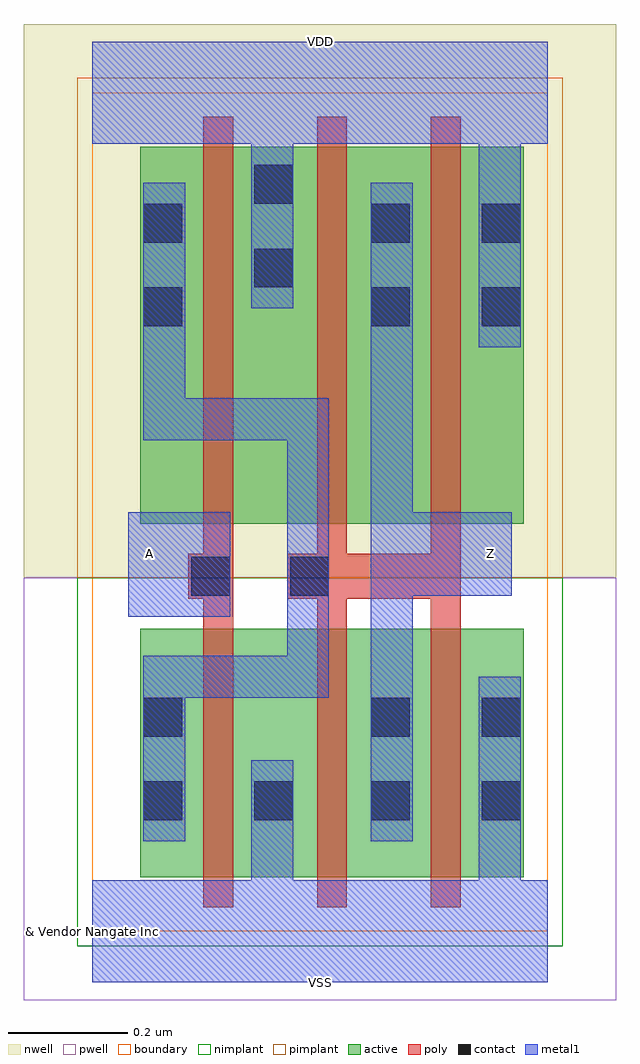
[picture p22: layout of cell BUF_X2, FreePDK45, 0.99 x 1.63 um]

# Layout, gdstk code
import gdstk
lib = gdstk.Library(unit=1e-6, precision=1e-10)
def R(c, l, rs):  # rectangles x0, y0, x1, y1
    for r in rs: c.add(gdstk.rectangle(r[:2], r[2:], *l))
def P(c, l, *ps):  # polygons
    for p in ps: c.add(gdstk.Polygon(p, *l))
active = (1, 0)
pwell = (2, 0)
nwell = (3, 0)
nimplant = (4, 0)
pimplant = (5, 0)
poly = (9, 0)
contact = (10, 0)
metal1 = (11, 0)
boundary = (235, 0)

buf_x2 = lib.new_cell('BUF_X2')
R(buf_x2, active, [(0.08,0.09,0.72,0.505), (0.08,0.68,0.72,1.31)])
R(buf_x2, pwell, [(-0.115,-0.115,0.875,0.59)])
R(buf_x2, nwell, [(-0.115,0.59,0.875,1.515)])
R(buf_x2, nimplant, [(-0.025,-0.025,0.785,0.59)])
R(buf_x2, pimplant, [(-0.025,0.59,0.785,1.425)])
P(buf_x2, poly, [(0.185,0.04),(0.185,0.555),(0.16,0.555),(0.16,0.63),(0.185,0.63),(0.185,1.36),(0.235,1.36),(0.235,0.04)],
  [(0.375,0.04),(0.375,0.555),(0.325,0.555),(0.325,0.63),(0.375,0.63),(0.375,1.36),(0.425,1.36),(0.425,0.63),(0.565,0.63),(0.565,1.36),(0.615,1.36),(0.615,0.04),(0.565,0.04),(0.565,0.555),(0.425,0.555),(0.425,0.04)])
R(buf_x2, contact, [(0.085,0.185,0.15,0.25), (0.27,0.185,0.335,0.25), (0.465,0.185,0.53,0.25), (0.65,0.185,0.715,0.25), (0.085,0.325,0.15,0.39), (0.465,0.325,0.53,0.39), (0.65,0.325,0.715,0.39), (0.165,0.56,0.23,0.625), (0.33,0.56,0.395,0.625), (0.085,1.01,0.15,1.075), (0.465,1.01,0.53,1.075), (0.65,1.01,0.715,1.075), (0.27,1.075,0.335,1.14), (0.085,1.15,0.15,1.215), (0.465,1.15,0.53,1.215), (0.65,1.15,0.715,1.215), (0.27,1.215,0.335,1.28)])
R(buf_x2, metal1, [(0.06,0.525,0.23,0.7)])
P(buf_x2, metal1, [(0.085,0.15),(0.085,0.46),(0.325,0.46),(0.325,0.82),(0.085,0.82),(0.085,1.25),(0.155,1.25),(0.155,0.89),(0.395,0.89),(0.395,0.39),(0.155,0.39),(0.155,0.15)],
  [(0.465,0.15),(0.465,1.25),(0.535,1.25),(0.535,0.7),(0.7,0.7),(0.7,0.56),(0.535,0.56),(0.535,0.15)],
  [(0,-0.085),(0,0.085),(0.265,0.085),(0.265,0.285),(0.335,0.285),(0.335,0.085),(0.645,0.085),(0.645,0.425),(0.715,0.425),(0.715,0.085),(0.76,0.085),(0.76,-0.085)],
  [(0.645,0.975),(0.645,1.315),(0.335,1.315),(0.335,1.04),(0.265,1.04),(0.265,1.315),(0,1.315),(0,1.485),(0.76,1.485),(0.76,1.315),(0.715,1.315),(0.715,0.975)])
R(buf_x2, boundary, [(0,0,0.76,1.4)])
buf_x2.add(gdstk.Label('A', (0.095,0.63), layer=11, texttype=0))
buf_x2.add(gdstk.Label('VDD', (0.38,1.485), layer=11, texttype=0))
buf_x2.add(gdstk.Label('VSS', (0.38,-0.085), layer=11, texttype=0))
buf_x2.add(gdstk.Label('Z', (0.665,0.63), layer=11, texttype=0))
buf_x2.add(gdstk.Label('& Vendor Nangate Inc', (0,0), layer=63, texttype=63))
buf_x2.add(gdstk.Label('& Product Open Cell Library', (0,0), layer=63, texttype=63))
buf_x2.add(gdstk.Label('& Version 2010_12', (0,0), layer=63, texttype=63))
buf_x2.add(gdstk.Label('& Instance BUF_X2', (0,0), layer=63, texttype=63))

lib.write_gds('BUF_X2.gds')
